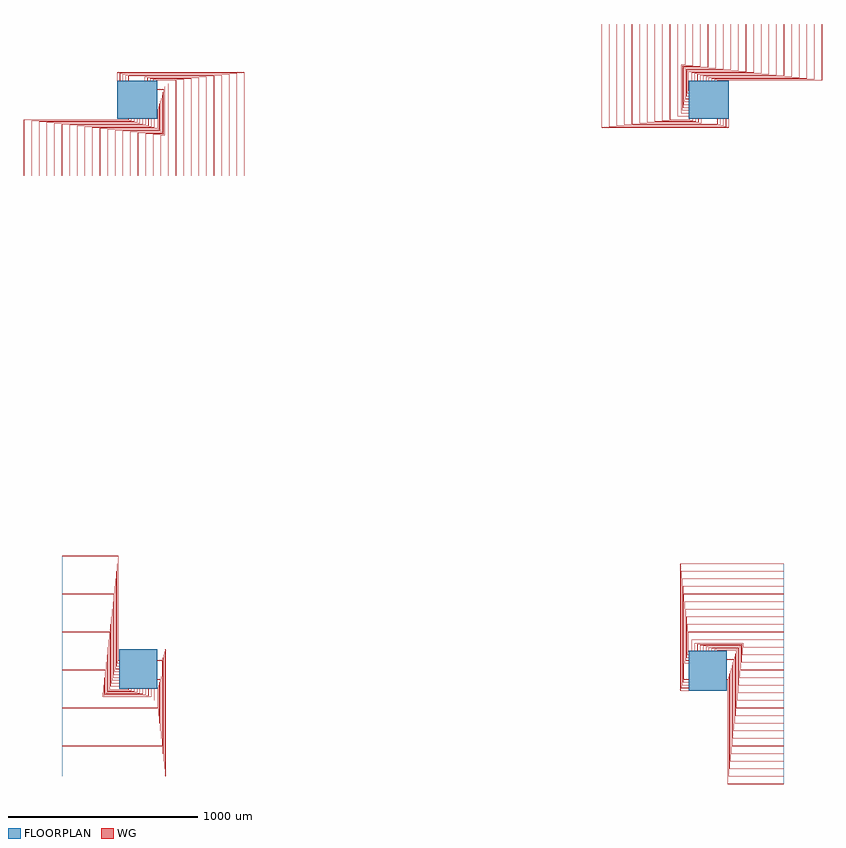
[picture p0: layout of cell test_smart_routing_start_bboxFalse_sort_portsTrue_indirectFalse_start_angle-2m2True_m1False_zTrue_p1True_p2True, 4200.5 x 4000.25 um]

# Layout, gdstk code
import gdstk
lib = gdstk.Library(unit=1e-6, precision=1e-09)
def R(c, l, rs):  # rectangles x0, y0, x1, y1
    for r in rs: c.add(gdstk.rectangle(r[:2], r[2:], *l))
def P(c, l, *ps):  # polygons
    for p in ps: c.add(gdstk.Polygon(p, *l))
WG = (1, 0)
FLOORPLAN = (10, 0)

test_smart_routing_start = lib.new_cell('test_smart_routing_start_bboxFalse_sort_portsTrue_indirectFalse_start_angle-2m2True_m1False_zTrue_p1True_p2True')
P(test_smart_routing_start, WG, [(3049.75,3100),(3049.75,3104.5),(3599.75,3104.5),(3599.75,3400),(3599.95,3400),(3599.95,3104.3),(3049.95,3104.3),(3049.95,3100)],
  [(3050.05,3100),(3050.05,3104.2),(3600.05,3104.2),(3600.05,3400),(3600.25,3400),(3600.25,3104),(3050.25,3104),(3050.25,3100)],
  [(3034.75,3100),(3034.75,3109),(3559.75,3109),(3559.75,3400),(3559.95,3400),(3559.95,3108.8),(3034.95,3108.8),(3034.95,3100)],
  [(3035.05,3100),(3035.05,3108.7),(3560.05,3108.7),(3560.05,3400),(3560.25,3400),(3560.25,3108.5),(3035.25,3108.5),(3035.25,3100)],
  [(3019.75,3100),(3019.75,3113.5),(3519.75,3113.5),(3519.75,3400),(3519.95,3400),(3519.95,3113.3),(3019.95,3113.3),(3019.95,3100)],
  [(3020.05,3100),(3020.05,3113.2),(3520.05,3113.2),(3520.05,3400),(3520.25,3400),(3520.25,3113),(3020.25,3113),(3020.25,3100)],
  [(3004.75,3100),(3004.75,3118),(3479.75,3118),(3479.75,3400),(3479.95,3400),(3479.95,3117.8),(3004.95,3117.8),(3004.95,3100)],
  [(3005.05,3100),(3005.05,3117.7),(3480.05,3117.7),(3480.05,3400),(3480.25,3400),(3480.25,3117.5),(3005.25,3117.5),(3005.25,3100)],
  [(2989.75,3100),(2989.75,3122.5),(3439.75,3122.5),(3439.75,3400),(3439.95,3400),(3439.95,3122.3),(2989.95,3122.3),(2989.95,3100)],
  [(2990.05,3100),(2990.05,3122.2),(3440.05,3122.2),(3440.05,3400),(3440.25,3400),(3440.25,3122),(2990.25,3122),(2990.25,3100)],
  [(2974.75,3100),(2974.75,3127),(3399.75,3127),(3399.75,3400),(3399.95,3400),(3399.95,3126.8),(2974.95,3126.8),(2974.95,3100)],
  [(2975.05,3100),(2975.05,3126.7),(3400.05,3126.7),(3400.05,3400),(3400.25,3400),(3400.25,3126.5),(2975.25,3126.5),(2975.25,3100)],
  [(2959.75,3100),(2959.75,3131.5),(3359.75,3131.5),(3359.75,3400),(3359.95,3400),(3359.95,3131.3),(2959.95,3131.3),(2959.95,3100)],
  [(2960.05,3100),(2960.05,3131.2),(3360.05,3131.2),(3360.05,3400),(3360.25,3400),(3360.25,3131),(2960.25,3131),(2960.25,3100)],
  [(2944.75,3100),(2944.75,3136),(3319.75,3136),(3319.75,3400),(3319.95,3400),(3319.95,3135.8),(2944.95,3135.8),(2944.95,3100)],
  [(2945.05,3100),(2945.05,3135.7),(3320.05,3135.7),(3320.05,3400),(3320.25,3400),(3320.25,3135.5),(2945.25,3135.5),(2945.25,3100)],
  [(2929.75,3100),(2929.75,3140.5),(3279.75,3140.5),(3279.75,3400),(3279.95,3400),(3279.95,3140.3),(2929.95,3140.3),(2929.95,3100)],
  [(2930.05,3100),(2930.05,3140.2),(3280.05,3140.2),(3280.05,3400),(3280.25,3400),(3280.25,3140),(2930.25,3140),(2930.25,3100)],
  [(2914.75,3100),(2914.75,3145),(3239.75,3145),(3239.75,3400),(3239.95,3400),(3239.95,3144.8),(2914.95,3144.8),(2914.95,3100)],
  [(2915.05,3100),(2915.05,3144.7),(3240.05,3144.7),(3240.05,3400),(3240.25,3400),(3240.25,3144.5),(2915.25,3144.5),(2915.25,3100)],
  [(2895.5,3049.75),(2895.5,3149.5),(3199.75,3149.5),(3199.75,3400),(3199.95,3400),(3199.95,3149.3),(2895.7,3149.3),(2895.7,3049.95),(2900,3049.95),(2900,3049.75)],
  [(2895.8,3050.05),(2895.8,3149.2),(3200.05,3149.2),(3200.05,3400),(3200.25,3400),(3200.25,3149),(2896,3149),(2896,3050.25),(2900,3050.25),(2900,3050.05)],
  [(2891,3034.75),(2891,3154),(3159.75,3154),(3159.75,3400),(3159.95,3400),(3159.95,3153.8),(2891.2,3153.8),(2891.2,3034.95),(2900,3034.95),(2900,3034.75)],
  [(2891.3,3035.05),(2891.3,3153.7),(3160.05,3153.7),(3160.05,3400),(3160.25,3400),(3160.25,3153.5),(2891.5,3153.5),(2891.5,3035.25),(2900,3035.25),(2900,3035.05)],
  [(2886.5,3019.75),(2886.5,3158.5),(3119.75,3158.5),(3119.75,3400),(3119.95,3400),(3119.95,3158.3),(2886.7,3158.3),(2886.7,3019.95),(2900,3019.95),(2900,3019.75)],
  [(2886.8,3020.05),(2886.8,3158.2),(3120.05,3158.2),(3120.05,3400),(3120.25,3400),(3120.25,3158),(2887,3158),(2887,3020.25),(2900,3020.25),(2900,3020.05)],
  [(2882,3004.75),(2882,3163),(3079.75,3163),(3079.75,3400),(3079.95,3400),(3079.95,3162.8),(2882.2,3162.8),(2882.2,3004.95),(2900,3004.95),(2900,3004.75)],
  [(2882.3,3005.05),(2882.3,3162.7),(3080.05,3162.7),(3080.05,3400),(3080.25,3400),(3080.25,3162.5),(2882.5,3162.5),(2882.5,3005.25),(2900,3005.25),(2900,3005.05)],
  [(2877.5,2989.75),(2877.5,3167.5),(3039.75,3167.5),(3039.75,3400),(3039.95,3400),(3039.95,3167.3),(2877.7,3167.3),(2877.7,2989.95),(2900,2989.95),(2900,2989.75)],
  [(2877.8,2990.05),(2877.8,3167.2),(3040.05,3167.2),(3040.05,3400),(3040.25,3400),(3040.25,3167),(2878,3167),(2878,2990.25),(2900,2990.25),(2900,2990.05)],
  [(2873,2974.75),(2873,3172),(2999.75,3172),(2999.75,3400),(2999.95,3400),(2999.95,3171.8),(2873.2,3171.8),(2873.2,2974.95),(2900,2974.95),(2900,2974.75)],
  [(2873.3,2975.05),(2873.3,3171.7),(3000.05,3171.7),(3000.05,3400),(3000.25,3400),(3000.25,3171.5),(2873.5,3171.5),(2873.5,2975.25),(2900,2975.25),(2900,2975.05)],
  [(2868.5,2959.75),(2868.5,3176.5),(2959.75,3176.5),(2959.75,3400),(2959.95,3400),(2959.95,3176.3),(2868.7,3176.3),(2868.7,2959.95),(2900,2959.95),(2900,2959.75)],
  [(2868.8,2960.05),(2868.8,3176.2),(2960.05,3176.2),(2960.05,3400),(2960.25,3400),(2960.25,3176),(2869,3176),(2869,2960.25),(2900,2960.25),(2900,2960.05)],
  [(2864,2944.75),(2864,3181),(2919.75,3181),(2919.75,3400),(2919.95,3400),(2919.95,3180.8),(2864.2,3180.8),(2864.2,2944.95),(2900,2944.95),(2900,2944.75)],
  [(2864.3,2945.05),(2864.3,3180.7),(2920.05,3180.7),(2920.05,3400),(2920.25,3400),(2920.25,3180.5),(2864.5,3180.5),(2864.5,2945.25),(2900,2945.25),(2900,2945.05)],
  [(2859.5,2929.75),(2859.5,3185.5),(2879.75,3185.5),(2879.75,3400),(2879.95,3400),(2879.95,3185.3),(2859.7,3185.3),(2859.7,2929.95),(2900,2929.95),(2900,2929.75)],
  [(2859.8,2930.05),(2859.8,3185.2),(2880.05,3185.2),(2880.05,3400),(2880.25,3400),(2880.25,3185),(2860,3185),(2860,2930.25),(2900,2930.25),(2900,2930.05)],
  [(2839.75,2914.75),(2839.75,3400),(2839.95,3400),(2839.95,2914.95),(2900,2914.95),(2900,2914.75)],
  [(2840.05,2915.05),(2840.05,3400),(2840.25,3400),(2840.25,2915.25),(2900,2915.25),(2900,2915.05)],
  [(2799.75,2895.5),(2799.75,3400),(2799.95,3400),(2799.95,2895.7),(2905.05,2895.7),(2905.05,2900),(2905.25,2900),(2905.25,2895.5)],
  [(2800.05,2895.8),(2800.05,3400),(2800.25,3400),(2800.25,2896),(2904.75,2896),(2904.75,2900),(2904.95,2900),(2904.95,2895.8)],
  [(2759.75,2891),(2759.75,3400),(2759.95,3400),(2759.95,2891.2),(2920.05,2891.2),(2920.05,2900),(2920.25,2900),(2920.25,2891)],
  [(2760.05,2891.3),(2760.05,3400),(2760.25,3400),(2760.25,2891.5),(2919.75,2891.5),(2919.75,2900),(2919.95,2900),(2919.95,2891.3)],
  [(2719.75,2886.5),(2719.75,3400),(2719.95,3400),(2719.95,2886.7),(2935.05,2886.7),(2935.05,2900),(2935.25,2900),(2935.25,2886.5)],
  [(2720.05,2886.8),(2720.05,3400),(2720.25,3400),(2720.25,2887),(2934.75,2887),(2934.75,2900),(2934.95,2900),(2934.95,2886.8)],
  [(2679.75,2882),(2679.75,3400),(2679.95,3400),(2679.95,2882.2),(2950.05,2882.2),(2950.05,2900),(2950.25,2900),(2950.25,2882)],
  [(2680.05,2882.3),(2680.05,3400),(2680.25,3400),(2680.25,2882.5),(2949.75,2882.5),(2949.75,2900),(2949.95,2900),(2949.95,2882.3)],
  [(2639.75,2877.5),(2639.75,3400),(2639.95,3400),(2639.95,2877.7),(2965.05,2877.7),(2965.05,2900),(2965.25,2900),(2965.25,2877.5)],
  [(2640.05,2877.8),(2640.05,3400),(2640.25,3400),(2640.25,2878),(2964.75,2878),(2964.75,2900),(2964.95,2900),(2964.95,2877.8)],
  [(2599.75,2873),(2599.75,3400),(2599.95,3400),(2599.95,2873.2),(3050.05,2873.2),(3050.05,2900),(3050.25,2900),(3050.25,2873)],
  [(2600.05,2873.3),(2600.05,3400),(2600.25,3400),(2600.25,2873.5),(3049.75,2873.5),(3049.75,2900),(3049.95,2900),(3049.95,2873.3)],
  [(2559.75,2868.5),(2559.75,3400),(2559.95,3400),(2559.95,2868.7),(3065.05,2868.7),(3065.05,2900),(3065.25,2900),(3065.25,2868.5)],
  [(2560.05,2868.8),(2560.05,3400),(2560.25,3400),(2560.25,2869),(3064.75,2869),(3064.75,2900),(3064.95,2900),(3064.95,2868.8)],
  [(2519.75,2864),(2519.75,3400),(2519.95,3400),(2519.95,2864.2),(3080.05,2864.2),(3080.05,2900),(3080.25,2900),(3080.25,2864)],
  [(2520.05,2864.3),(2520.05,3400),(2520.25,3400),(2520.25,2864.5),(3079.75,2864.5),(3079.75,2900),(3079.95,2900),(3079.95,2864.3)],
  [(2479.75,2859.5),(2479.75,3400),(2479.95,3400),(2479.95,2859.7),(3095.05,2859.7),(3095.05,2900),(3095.25,2900),(3095.25,2859.5)],
  [(2480.05,2859.8),(2480.05,3400),(2480.25,3400),(2480.25,2860),(3094.75,2860),(3094.75,2900),(3094.95,2900),(3094.95,2859.8)],
  [(2439.75,2855),(2439.75,3400),(2439.95,3400),(2439.95,2855.2),(3110.05,2855.2),(3110.05,2900),(3110.25,2900),(3110.25,2855)],
  [(2440.05,2855.3),(2440.05,3400),(2440.25,3400),(2440.25,2855.5),(3109.75,2855.5),(3109.75,2900),(3109.95,2900),(3109.95,2855.3)],
  [(-600.25,2600),(-600.25,2896),(-50.25,2896),(-50.25,2900),(-50.05,2900),(-50.05,2895.8),(-600.05,2895.8),(-600.05,2600)],
  [(-599.95,2600),(-599.95,2895.7),(-49.95,2895.7),(-49.95,2900),(-49.75,2900),(-49.75,2895.5),(-599.75,2895.5),(-599.75,2600)],
  [(-560.25,2600),(-560.25,2891.5),(-35.25,2891.5),(-35.25,2900),(-35.05,2900),(-35.05,2891.3),(-560.05,2891.3),(-560.05,2600)],
  [(-559.95,2600),(-559.95,2891.2),(-34.95,2891.2),(-34.95,2900),(-34.75,2900),(-34.75,2891),(-559.75,2891),(-559.75,2600)],
  [(-520.25,2600),(-520.25,2887),(-20.25,2887),(-20.25,2900),(-20.05,2900),(-20.05,2886.8),(-520.05,2886.8),(-520.05,2600)],
  [(-519.95,2600),(-519.95,2886.7),(-19.95,2886.7),(-19.95,2900),(-19.75,2900),(-19.75,2886.5),(-519.75,2886.5),(-519.75,2600)],
  [(-480.25,2600),(-480.25,2882.5),(-5.25,2882.5),(-5.25,2900),(-5.05,2900),(-5.05,2882.3),(-480.05,2882.3),(-480.05,2600)],
  [(-479.95,2600),(-479.95,2882.2),(-4.95,2882.2),(-4.95,2900),(-4.75,2900),(-4.75,2882),(-479.75,2882),(-479.75,2600)],
  [(-440.25,2600),(-440.25,2878),(9.75,2878),(9.75,2900),(9.95,2900),(9.95,2877.8),(-440.05,2877.8),(-440.05,2600)],
  [(-439.95,2600),(-439.95,2877.7),(10.05,2877.7),(10.05,2900),(10.25,2900),(10.25,2877.5),(-439.75,2877.5),(-439.75,2600)],
  [(-400.25,2600),(-400.25,2873.5),(24.75,2873.5),(24.75,2900),(24.95,2900),(24.95,2873.3),(-400.05,2873.3),(-400.05,2600)],
  [(-399.95,2600),(-399.95,2873.2),(25.05,2873.2),(25.05,2900),(25.25,2900),(25.25,2873),(-399.75,2873),(-399.75,2600)],
  [(-360.25,2600),(-360.25,2869),(39.75,2869),(39.75,2900),(39.95,2900),(39.95,2868.8),(-360.05,2868.8),(-360.05,2600)],
  [(-359.95,2600),(-359.95,2868.7),(40.05,2868.7),(40.05,2900),(40.25,2900),(40.25,2868.5),(-359.75,2868.5),(-359.75,2600)],
  [(-320.25,2600),(-320.25,2864.5),(54.75,2864.5),(54.75,2900),(54.95,2900),(54.95,2864.3),(-320.05,2864.3),(-320.05,2600)],
  [(-319.95,2600),(-319.95,2864.2),(55.05,2864.2),(55.05,2900),(55.25,2900),(55.25,2864),(-319.75,2864),(-319.75,2600)],
  [(-280.25,2600),(-280.25,2860),(69.75,2860),(69.75,2900),(69.95,2900),(69.95,2859.8),(-280.05,2859.8),(-280.05,2600)],
  [(-279.95,2600),(-279.95,2859.7),(70.05,2859.7),(70.05,2900),(70.25,2900),(70.25,2859.5),(-279.75,2859.5),(-279.75,2600)],
  [(-240.25,2600),(-240.25,2855.5),(84.75,2855.5),(84.75,2900),(84.95,2900),(84.95,2855.3),(-240.05,2855.3),(-240.05,2600)],
  [(-239.95,2600),(-239.95,2855.2),(85.05,2855.2),(85.05,2900),(85.25,2900),(85.25,2855),(-239.75,2855),(-239.75,2600)],
  [(-200.25,2600),(-200.25,2851),(104,2851),(104,2949.75),(100,2949.75),(100,2949.95),(104.2,2949.95),(104.2,2850.8),(-200.05,2850.8),(-200.05,2600)],
  [(-199.95,2600),(-199.95,2850.7),(104.3,2850.7),(104.3,2950.05),(100,2950.05),(100,2950.25),(104.5,2950.25),(104.5,2850.5),(-199.75,2850.5),(-199.75,2600)],
  [(-160.25,2600),(-160.25,2846.5),(108.5,2846.5),(108.5,2964.75),(100,2964.75),(100,2964.95),(108.7,2964.95),(108.7,2846.3),(-160.05,2846.3),(-160.05,2600)],
  [(-159.95,2600),(-159.95,2846.2),(108.8,2846.2),(108.8,2965.05),(100,2965.05),(100,2965.25),(109,2965.25),(109,2846),(-159.75,2846),(-159.75,2600)],
  [(-120.25,2600),(-120.25,2842),(113,2842),(113,2979.75),(100,2979.75),(100,2979.95),(113.2,2979.95),(113.2,2841.8),(-120.05,2841.8),(-120.05,2600)],
  [(-119.95,2600),(-119.95,2841.7),(113.3,2841.7),(113.3,2980.05),(100,2980.05),(100,2980.25),(113.5,2980.25),(113.5,2841.5),(-119.75,2841.5),(-119.75,2600)],
  [(-80.25,2600),(-80.25,2837.5),(117.5,2837.5),(117.5,2994.75),(100,2994.75),(100,2994.95),(117.7,2994.95),(117.7,2837.3),(-80.05,2837.3),(-80.05,2600)],
  [(-79.95,2600),(-79.95,2837.2),(117.8,2837.2),(117.8,2995.05),(100,2995.05),(100,2995.25),(118,2995.25),(118,2837),(-79.75,2837),(-79.75,2600)],
  [(-40.25,2600),(-40.25,2833),(122,2833),(122,3009.75),(100,3009.75),(100,3009.95),(122.2,3009.95),(122.2,2832.8),(-40.05,2832.8),(-40.05,2600)],
  [(-39.95,2600),(-39.95,2832.7),(122.3,2832.7),(122.3,3010.05),(100,3010.05),(100,3010.25),(122.5,3010.25),(122.5,2832.5),(-39.75,2832.5),(-39.75,2600)],
  [(-0.25,2600),(-0.25,2828.5),(126.5,2828.5),(126.5,3024.75),(100,3024.75),(100,3024.95),(126.7,3024.95),(126.7,2828.3),(-0.05,2828.3),(-0.05,2600)],
  [(0.05,2600),(0.05,2828.2),(126.8,2828.2),(126.8,3025.05),(100,3025.05),(100,3025.25),(127,3025.25),(127,2828),(0.25,2828),(0.25,2600)],
  [(39.75,2600),(39.75,2824),(131,2824),(131,3039.75),(100,3039.75),(100,3039.95),(131.2,3039.95),(131.2,2823.8),(39.95,2823.8),(39.95,2600)],
  [(40.05,2600),(40.05,2823.7),(131.3,2823.7),(131.3,3040.05),(100,3040.05),(100,3040.25),(131.5,3040.25),(131.5,2823.5),(40.25,2823.5),(40.25,2600)],
  [(79.75,2600),(79.75,2819.5),(135.5,2819.5),(135.5,3054.75),(100,3054.75),(100,3054.95),(135.7,3054.95),(135.7,2819.3),(79.95,2819.3),(79.95,2600)],
  [(80.05,2600),(80.05,2819.2),(135.8,2819.2),(135.8,3055.05),(100,3055.05),(100,3055.25),(136,3055.25),(136,2819),(80.25,2819),(80.25,2600)],
  [(119.75,2600),(119.75,2815),(140,2815),(140,3069.75),(100,3069.75),(100,3069.95),(140.2,3069.95),(140.2,2814.8),(119.95,2814.8),(119.95,2600)],
  [(120.05,2600),(120.05,2814.7),(140.3,2814.7),(140.3,3070.05),(100,3070.05),(100,3070.25),(140.5,3070.25),(140.5,2814.5),(120.25,2814.5),(120.25,2600)],
  [(159.75,2600),(159.75,3084.75),(100,3084.75),(100,3084.95),(159.95,3084.95),(159.95,2600)],
  [(160.05,2600),(160.05,3085.05),(100,3085.05),(100,3085.25),(160.25,3085.25),(160.25,2600)],
  [(199.75,2600),(199.75,3104),(95.25,3104),(95.25,3100),(95.05,3100),(95.05,3104.2),(199.95,3104.2),(199.95,2600)],
  [(200.05,2600),(200.05,3104.3),(94.95,3104.3),(94.95,3100),(94.75,3100),(94.75,3104.5),(200.25,3104.5),(200.25,2600)],
  [(239.75,2600),(239.75,3108.5),(80.25,3108.5),(80.25,3100),(80.05,3100),(80.05,3108.7),(239.95,3108.7),(239.95,2600)],
  [(240.05,2600),(240.05,3108.8),(79.95,3108.8),(79.95,3100),(79.75,3100),(79.75,3109),(240.25,3109),(240.25,2600)],
  [(279.75,2600),(279.75,3113),(65.25,3113),(65.25,3100),(65.05,3100),(65.05,3113.2),(279.95,3113.2),(279.95,2600)],
  [(280.05,2600),(280.05,3113.3),(64.95,3113.3),(64.95,3100),(64.75,3100),(64.75,3113.5),(280.25,3113.5),(280.25,2600)],
  [(319.75,2600),(319.75,3117.5),(50.25,3117.5),(50.25,3100),(50.05,3100),(50.05,3117.7),(319.95,3117.7),(319.95,2600)],
  [(320.05,2600),(320.05,3117.8),(49.95,3117.8),(49.95,3100),(49.75,3100),(49.75,3118),(320.25,3118),(320.25,2600)],
  [(359.75,2600),(359.75,3122),(35.25,3122),(35.25,3100),(35.05,3100),(35.05,3122.2),(359.95,3122.2),(359.95,2600)],
  [(360.05,2600),(360.05,3122.3),(34.95,3122.3),(34.95,3100),(34.75,3100),(34.75,3122.5),(360.25,3122.5),(360.25,2600)],
  [(399.75,2600),(399.75,3126.5),(-49.75,3126.5),(-49.75,3100),(-49.95,3100),(-49.95,3126.7),(399.95,3126.7),(399.95,2600)],
  [(400.05,2600),(400.05,3126.8),(-50.05,3126.8),(-50.05,3100),(-50.25,3100),(-50.25,3127),(400.25,3127),(400.25,2600)],
  [(439.75,2600),(439.75,3131),(-64.75,3131),(-64.75,3100),(-64.95,3100),(-64.95,3131.2),(439.95,3131.2),(439.95,2600)],
  [(440.05,2600),(440.05,3131.3),(-65.05,3131.3),(-65.05,3100),(-65.25,3100),(-65.25,3131.5),(440.25,3131.5),(440.25,2600)],
  [(479.75,2600),(479.75,3135.5),(-79.75,3135.5),(-79.75,3100),(-79.95,3100),(-79.95,3135.7),(479.95,3135.7),(479.95,2600)],
  [(480.05,2600),(480.05,3135.8),(-80.05,3135.8),(-80.05,3100),(-80.25,3100),(-80.25,3136),(480.25,3136),(480.25,2600)],
  [(519.75,2600),(519.75,3140),(-94.75,3140),(-94.75,3100),(-94.95,3100),(-94.95,3140.2),(519.95,3140.2),(519.95,2600)],
  [(520.05,2600),(520.05,3140.3),(-95.05,3140.3),(-95.05,3100),(-95.25,3100),(-95.25,3140.5),(520.25,3140.5),(520.25,2600)],
  [(559.75,2600),(559.75,3144.5),(-109.75,3144.5),(-109.75,3100),(-109.95,3100),(-109.95,3144.7),(559.95,3144.7),(559.95,2600)],
  [(560.05,2600),(560.05,3144.8),(-110.05,3144.8),(-110.05,3100),(-110.25,3100),(-110.25,3145),(560.25,3145),(560.25,2600)],
  [(-104.5,49.75),(-104.5,599.75),(-400,599.75),(-400,599.95),(-104.3,599.95),(-104.3,49.95),(-100,49.95),(-100,49.75)],
  [(-104.2,50.05),(-104.2,600.05),(-400,600.05),(-400,600.25),(-104,600.25),(-104,50.25),(-100,50.25),(-100,50.05)],
  [(-109,34.75),(-109,559.75),(-400,559.75),(-400,559.95),(-108.8,559.95),(-108.8,34.95),(-100,34.95),(-100,34.75)],
  [(-108.7,35.05),(-108.7,560.05),(-400,560.05),(-400,560.25),(-108.5,560.25),(-108.5,35.25),(-100,35.25),(-100,35.05)],
  [(-113.5,19.75),(-113.5,519.75),(-400,519.75),(-400,519.95),(-113.3,519.95),(-113.3,19.95),(-100,19.95),(-100,19.75)],
  [(-113.2,20.05),(-113.2,520.05),(-400,520.05),(-400,520.25),(-113,520.25),(-113,20.25),(-100,20.25),(-100,20.05)],
  [(-118,4.75),(-118,479.75),(-400,479.75),(-400,479.95),(-117.8,479.95),(-117.8,4.95),(-100,4.95),(-100,4.75)],
  [(-117.7,5.05),(-117.7,480.05),(-400,480.05),(-400,480.25),(-117.5,480.25),(-117.5,5.25),(-100,5.25),(-100,5.05)],
  [(-122.5,-10.25),(-122.5,439.75),(-400,439.75),(-400,439.95),(-122.3,439.95),(-122.3,-10.05),(-100,-10.05),(-100,-10.25)],
  [(-122.2,-9.95),(-122.2,440.05),(-400,440.05),(-400,440.25),(-122,440.25),(-122,-9.75),(-100,-9.75),(-100,-9.95)],
  [(-127,-25.25),(-127,399.75),(-400,399.75),(-400,399.95),(-126.8,399.95),(-126.8,-25.05),(-100,-25.05),(-100,-25.25)],
  [(-126.7,-24.95),(-126.7,400.05),(-400,400.05),(-400,400.25),(-126.5,400.25),(-126.5,-24.75),(-100,-24.75),(-100,-24.95)],
  [(-131.5,-40.25),(-131.5,359.75),(-400,359.75),(-400,359.95),(-131.3,359.95),(-131.3,-40.05),(-100,-40.05),(-100,-40.25)],
  [(-131.2,-39.95),(-131.2,360.05),(-400,360.05),(-400,360.25),(-131,360.25),(-131,-39.75),(-100,-39.75),(-100,-39.95)],
  [(-136,-55.25),(-136,319.75),(-400,319.75),(-400,319.95),(-135.8,319.95),(-135.8,-55.05),(-100,-55.05),(-100,-55.25)],
  [(-135.7,-54.95),(-135.7,320.05),(-400,320.05),(-400,320.25),(-135.5,320.25),(-135.5,-54.75),(-100,-54.75),(-100,-54.95)],
  [(-140.5,-70.25),(-140.5,279.75),(-400,279.75),(-400,279.95),(-140.3,279.95),(-140.3,-70.05),(-100,-70.05),(-100,-70.25)],
  [(-140.2,-69.95),(-140.2,280.05),(-400,280.05),(-400,280.25),(-140,280.25),(-140,-69.75),(-100,-69.75),(-100,-69.95)],
  [(-145,-85.25),(-145,239.75),(-400,239.75),(-400,239.95),(-144.8,239.95),(-144.8,-85.05),(-100,-85.05),(-100,-85.25)],
  [(-144.7,-84.95),(-144.7,240.05),(-400,240.05),(-400,240.25),(-144.5,240.25),(-144.5,-84.75),(-100,-84.75),(-100,-84.95)],
  [(-149.5,-104.5),(-149.5,199.75),(-400,199.75),(-400,199.95),(-149.3,199.95),(-149.3,-104.3),(-49.95,-104.3),(-49.95,-100),(-49.75,-100),(-49.75,-104.5)],
  [(-149.2,-104.2),(-149.2,200.05),(-400,200.05),(-400,200.25),(-149,200.25),(-149,-104),(-50.25,-104),(-50.25,-100),(-50.05,-100),(-50.05,-104.2)],
  [(-154,-109),(-154,159.75),(-400,159.75),(-400,159.95),(-153.8,159.95),(-153.8,-108.8),(-34.95,-108.8),(-34.95,-100),(-34.75,-100),(-34.75,-109)],
  [(-153.7,-108.7),(-153.7,160.05),(-400,160.05),(-400,160.25),(-153.5,160.25),(-153.5,-108.5),(-35.25,-108.5),(-35.25,-100),(-35.05,-100),(-35.05,-108.7)],
  [(-158.5,-113.5),(-158.5,119.75),(-400,119.75),(-400,119.95),(-158.3,119.95),(-158.3,-113.3),(-19.95,-113.3),(-19.95,-100),(-19.75,-100),(-19.75,-113.5)],
  [(-158.2,-113.2),(-158.2,120.05),(-400,120.05),(-400,120.25),(-158,120.25),(-158,-113),(-20.25,-113),(-20.25,-100),(-20.05,-100),(-20.05,-113.2)],
  [(-163,-118),(-163,79.75),(-400,79.75),(-400,79.95),(-162.8,79.95),(-162.8,-117.8),(-4.95,-117.8),(-4.95,-100),(-4.75,-100),(-4.75,-118)],
  [(-162.7,-117.7),(-162.7,80.05),(-400,80.05),(-400,80.25),(-162.5,80.25),(-162.5,-117.5),(-5.25,-117.5),(-5.25,-100),(-5.05,-100),(-5.05,-117.7)],
  [(-167.5,-122.5),(-167.5,39.75),(-400,39.75),(-400,39.95),(-167.3,39.95),(-167.3,-122.3),(10.05,-122.3),(10.05,-100),(10.25,-100),(10.25,-122.5)],
  [(-167.2,-122.2),(-167.2,40.05),(-400,40.05),(-400,40.25),(-167,40.25),(-167,-122),(9.75,-122),(9.75,-100),(9.95,-100),(9.95,-122.2)],
  [(-172,-127),(-172,-0.25),(-400,-0.25),(-400,-0.05),(-171.8,-0.05),(-171.8,-126.8),(25.05,-126.8),(25.05,-100),(25.25,-100),(25.25,-127)],
  [(-171.7,-126.7),(-171.7,0.05),(-400,0.05),(-400,0.25),(-171.5,0.25),(-171.5,-126.5),(24.75,-126.5),(24.75,-100),(24.95,-100),(24.95,-126.7)],
  [(-176.5,-131.5),(-176.5,-40.25),(-400,-40.25),(-400,-40.05),(-176.3,-40.05),(-176.3,-131.3),(40.05,-131.3),(40.05,-100),(40.25,-100),(40.25,-131.5)],
  [(-176.2,-131.2),(-176.2,-39.95),(-400,-39.95),(-400,-39.75),(-176,-39.75),(-176,-131),(39.75,-131),(39.75,-100),(39.95,-100),(39.95,-131.2)],
  [(-181,-136),(-181,-80.25),(-400,-80.25),(-400,-80.05),(-180.8,-80.05),(-180.8,-135.8),(55.05,-135.8),(55.05,-100),(55.25,-100),(55.25,-136)],
  [(-180.7,-135.7),(-180.7,-79.95),(-400,-79.95),(-400,-79.75),(-180.5,-79.75),(-180.5,-135.5),(54.75,-135.5),(54.75,-100),(54.95,-100),(54.95,-135.7)],
  [(-185.2,-140.2),(-185.2,-119.95),(-400,-119.95),(-400,-119.75),(-185,-119.75),(-185,-140),(69.75,-140),(69.75,-100),(69.95,-100),(69.95,-140.2)],
  [(-185.5,-140.5),(-185.5,-120.25),(-400,-120.25),(-400,-120.05),(-185.3,-120.05),(-185.3,-140.3),(70.05,-140.3),(70.05,-100),(70.25,-100),(70.25,-140.5)],
  [(-400,-159.95),(-400,-159.75),(84.75,-159.75),(84.75,-100),(84.95,-100),(84.95,-159.95)],
  [(-400,-160.25),(-400,-160.05),(85.05,-160.05),(85.05,-100),(85.25,-100),(85.25,-160.25)],
  [(-400,-199.95),(-400,-199.75),(104,-199.75),(104,-95.25),(100,-95.25),(100,-95.05),(104.2,-95.05),(104.2,-199.95)],
  [(-400,-200.25),(-400,-200.05),(104.3,-200.05),(104.3,-94.95),(100,-94.95),(100,-94.75),(104.5,-94.75),(104.5,-200.25)],
  [(-400,-239.95),(-400,-239.75),(108.5,-239.75),(108.5,-80.25),(100,-80.25),(100,-80.05),(108.7,-80.05),(108.7,-239.95)],
  [(-400,-240.25),(-400,-240.05),(108.8,-240.05),(108.8,-79.95),(100,-79.95),(100,-79.75),(109,-79.75),(109,-240.25)],
  [(-400,-279.95),(-400,-279.75),(113,-279.75),(113,-65.25),(100,-65.25),(100,-65.05),(113.2,-65.05),(113.2,-279.95)],
  [(-400,-280.25),(-400,-280.05),(113.3,-280.05),(113.3,-64.95),(100,-64.95),(100,-64.75),(113.5,-64.75),(113.5,-280.25)],
  [(-400,-319.95),(-400,-319.75),(117.5,-319.75),(117.5,-50.25),(100,-50.25),(100,-50.05),(117.7,-50.05),(117.7,-319.95)],
  [(-400,-320.25),(-400,-320.05),(117.8,-320.05),(117.8,-49.95),(100,-49.95),(100,-49.75),(118,-49.75),(118,-320.25)],
  [(-400,-359.95),(-400,-359.75),(122,-359.75),(122,-35.25),(100,-35.25),(100,-35.05),(122.2,-35.05),(122.2,-359.95)],
  [(-400,-360.25),(-400,-360.05),(122.3,-360.05),(122.3,-34.95),(100,-34.95),(100,-34.75),(122.5,-34.75),(122.5,-360.25)],
  [(-400,-399.95),(-400,-399.75),(126.5,-399.75),(126.5,49.75),(100,49.75),(100,49.95),(126.7,49.95),(126.7,-399.95)],
  [(-400,-400.25),(-400,-400.05),(126.8,-400.05),(126.8,50.05),(100,50.05),(100,50.25),(127,50.25),(127,-400.25)],
  [(-400,-439.95),(-400,-439.75),(131,-439.75),(131,64.75),(100,64.75),(100,64.95),(131.2,64.95),(131.2,-439.95)],
  [(-400,-440.25),(-400,-440.05),(131.3,-440.05),(131.3,65.05),(100,65.05),(100,65.25),(131.5,65.25),(131.5,-440.25)],
  [(-400,-479.95),(-400,-479.75),(135.5,-479.75),(135.5,79.75),(100,79.75),(100,79.95),(135.7,79.95),(135.7,-479.95)],
  [(-400,-480.25),(-400,-480.05),(135.8,-480.05),(135.8,80.05),(100,80.05),(100,80.25),(136,80.25),(136,-480.25)],
  [(-400,-519.95),(-400,-519.75),(140,-519.75),(140,94.75),(100,94.75),(100,94.95),(140.2,94.95),(140.2,-519.95)],
  [(-400,-520.25),(-400,-520.05),(140.3,-520.05),(140.3,95.05),(100,95.05),(100,95.25),(140.5,95.25),(140.5,-520.25)],
  [(-400,-559.95),(-400,-559.75),(144.5,-559.75),(144.5,109.75),(100,109.75),(100,109.95),(144.7,109.95),(144.7,-559.95)],
  [(-400,-560.25),(-400,-560.05),(144.8,-560.05),(144.8,110.05),(100,110.05),(100,110.25),(145,110.25),(145,-560.25)],
  [(3104,-600.25),(3104,-50.25),(3100,-50.25),(3100,-50.05),(3104.2,-50.05),(3104.2,-600.05),(3400,-600.05),(3400,-600.25)],
  [(3104.3,-599.95),(3104.3,-49.95),(3100,-49.95),(3100,-49.75),(3104.5,-49.75),(3104.5,-599.75),(3400,-599.75),(3400,-599.95)],
  [(3108.5,-560.25),(3108.5,-35.25),(3100,-35.25),(3100,-35.05),(3108.7,-35.05),(3108.7,-560.05),(3400,-560.05),(3400,-560.25)],
  [(3108.8,-559.95),(3108.8,-34.95),(3100,-34.95),(3100,-34.75),(3109,-34.75),(3109,-559.75),(3400,-559.75),(3400,-559.95)],
  [(3113,-520.25),(3113,-20.25),(3100,-20.25),(3100,-20.05),(3113.2,-20.05),(3113.2,-520.05),(3400,-520.05),(3400,-520.25)],
  [(3113.3,-519.95),(3113.3,-19.95),(3100,-19.95),(3100,-19.75),(3113.5,-19.75),(3113.5,-519.75),(3400,-519.75),(3400,-519.95)],
  [(3117.5,-480.25),(3117.5,-5.25),(3100,-5.25),(3100,-5.05),(3117.7,-5.05),(3117.7,-480.05),(3400,-480.05),(3400,-480.25)],
  [(3117.8,-479.95),(3117.8,-4.95),(3100,-4.95),(3100,-4.75),(3118,-4.75),(3118,-479.75),(3400,-479.75),(3400,-479.95)],
  [(3122,-440.25),(3122,9.75),(3100,9.75),(3100,9.95),(3122.2,9.95),(3122.2,-440.05),(3400,-440.05),(3400,-440.25)],
  [(3122.3,-439.95),(3122.3,10.05),(3100,10.05),(3100,10.25),(3122.5,10.25),(3122.5,-439.75),(3400,-439.75),(3400,-439.95)],
  [(3126.5,-400.25),(3126.5,24.75),(3100,24.75),(3100,24.95),(3126.7,24.95),(3126.7,-400.05),(3400,-400.05),(3400,-400.25)],
  [(3126.8,-399.95),(3126.8,25.05),(3100,25.05),(3100,25.25),(3127,25.25),(3127,-399.75),(3400,-399.75),(3400,-399.95)],
  [(3131,-360.25),(3131,39.75),(3100,39.75),(3100,39.95),(3131.2,39.95),(3131.2,-360.05),(3400,-360.05),(3400,-360.25)],
  [(3131.3,-359.95),(3131.3,40.05),(3100,40.05),(3100,40.25),(3131.5,40.25),(3131.5,-359.75),(3400,-359.75),(3400,-359.95)],
  [(3135.5,-320.25),(3135.5,54.75),(3100,54.75),(3100,54.95),(3135.7,54.95),(3135.7,-320.05),(3400,-320.05),(3400,-320.25)],
  [(3135.8,-319.95),(3135.8,55.05),(3100,55.05),(3100,55.25),(3136,55.25),(3136,-319.75),(3400,-319.75),(3400,-319.95)],
  [(3140,-280.25),(3140,69.75),(3100,69.75),(3100,69.95),(3140.2,69.95),(3140.2,-280.05),(3400,-280.05),(3400,-280.25)],
  [(3140.3,-279.95),(3140.3,70.05),(3100,70.05),(3100,70.25),(3140.5,70.25),(3140.5,-279.75),(3400,-279.75),(3400,-279.95)],
  [(3144.5,-240.25),(3144.5,84.75),(3100,84.75),(3100,84.95),(3144.7,84.95),(3144.7,-240.05),(3400,-240.05),(3400,-240.25)],
  [(3144.8,-239.95),(3144.8,85.05),(3100,85.05),(3100,85.25),(3145,85.25),(3145,-239.75),(3400,-239.75),(3400,-239.95)],
  [(3149,-200.25),(3149,104),(3050.25,104),(3050.25,100),(3050.05,100),(3050.05,104.2),(3149.2,104.2),(3149.2,-200.05),(3400,-200.05),(3400,-200.25)],
  [(3149.3,-199.95),(3149.3,104.3),(3049.95,104.3),(3049.95,100),(3049.75,100),(3049.75,104.5),(3149.5,104.5),(3149.5,-199.75),(3400,-199.75),(3400,-199.95)],
  [(3153.5,-160.25),(3153.5,108.5),(3035.25,108.5),(3035.25,100),(3035.05,100),(3035.05,108.7),(3153.7,108.7),(3153.7,-160.05),(3400,-160.05),(3400,-160.25)],
  [(3153.8,-159.95),(3153.8,108.8),(3034.95,108.8),(3034.95,100),(3034.75,100),(3034.75,109),(3154,109),(3154,-159.75),(3400,-159.75),(3400,-159.95)],
  [(3158,-120.25),(3158,113),(3020.25,113),(3020.25,100),(3020.05,100),(3020.05,113.2),(3158.2,113.2),(3158.2,-120.05),(3400,-120.05),(3400,-120.25)],
  [(3158.3,-119.95),(3158.3,113.3),(3019.95,113.3),(3019.95,100),(3019.75,100),(3019.75,113.5),(3158.5,113.5),(3158.5,-119.75),(3400,-119.75),(3400,-119.95)],
  [(3162.5,-80.25),(3162.5,117.5),(3005.25,117.5),(3005.25,100),(3005.05,100),(3005.05,117.7),(3162.7,117.7),(3162.7,-80.05),(3400,-80.05),(3400,-80.25)],
  [(3162.8,-79.95),(3162.8,117.8),(3004.95,117.8),(3004.95,100),(3004.75,100),(3004.75,118),(3163,118),(3163,-79.75),(3400,-79.75),(3400,-79.95)],
  [(3167,-40.25),(3167,122),(2990.25,122),(2990.25,100),(2990.05,100),(2990.05,122.2),(3167.2,122.2),(3167.2,-40.05),(3400,-40.05),(3400,-40.25)],
  [(3167.3,-39.95),(3167.3,122.3),(2989.95,122.3),(2989.95,100),(2989.75,100),(2989.75,122.5),(3167.5,122.5),(3167.5,-39.75),(3400,-39.75),(3400,-39.95)],
  [(3171.5,-0.25),(3171.5,126.5),(2975.25,126.5),(2975.25,100),(2975.05,100),(2975.05,126.7),(3171.7,126.7),(3171.7,-0.05),(3400,-0.05),(3400,-0.25)],
  [(3171.8,0.05),(3171.8,126.8),(2974.95,126.8),(2974.95,100),(2974.75,100),(2974.75,127),(3172,127),(3172,0.25),(3400,0.25),(3400,0.05)],
  [(3176,39.75),(3176,131),(2960.25,131),(2960.25,100),(2960.05,100),(2960.05,131.2),(3176.2,131.2),(3176.2,39.95),(3400,39.95),(3400,39.75)],
  [(3176.3,40.05),(3176.3,131.3),(2959.95,131.3),(2959.95,100),(2959.75,100),(2959.75,131.5),(3176.5,131.5),(3176.5,40.25),(3400,40.25),(3400,40.05)],
  [(3180.5,79.75),(3180.5,135.5),(2945.25,135.5),(2945.25,100),(2945.05,100),(2945.05,135.7),(3180.7,135.7),(3180.7,79.95),(3400,79.95),(3400,79.75)],
  [(3180.8,80.05),(3180.8,135.8),(2944.95,135.8),(2944.95,100),(2944.75,100),(2944.75,136),(3181,136),(3181,80.25),(3400,80.25),(3400,80.05)],
  [(2930.05,100),(2930.05,140.2),(3185.2,140.2),(3185.2,119.95),(3400,119.95),(3400,119.75),(3185,119.75),(3185,140),(2930.25,140),(2930.25,100)],
  [(2929.75,100),(2929.75,140.5),(3185.5,140.5),(3185.5,120.25),(3400,120.25),(3400,120.05),(3185.3,120.05),(3185.3,140.3),(2929.95,140.3),(2929.95,100)],
  [(2915.05,100),(2915.05,159.95),(3400,159.95),(3400,159.75),(2915.25,159.75),(2915.25,100)],
  [(2914.75,100),(2914.75,160.25),(3400,160.25),(3400,160.05),(2914.95,160.05),(2914.95,100)],
  [(2895.8,95.05),(2895.8,199.95),(3400,199.95),(3400,199.75),(2896,199.75),(2896,95.25),(2900,95.25),(2900,95.05)],
  [(2895.5,94.75),(2895.5,200.25),(3400,200.25),(3400,200.05),(2895.7,200.05),(2895.7,94.95),(2900,94.95),(2900,94.75)],
  [(2891.3,80.05),(2891.3,239.95),(3400,239.95),(3400,239.75),(2891.5,239.75),(2891.5,80.25),(2900,80.25),(2900,80.05)],
  [(2891,79.75),(2891,240.25),(3400,240.25),(3400,240.05),(2891.2,240.05),(2891.2,79.95),(2900,79.95),(2900,79.75)],
  [(2886.8,65.05),(2886.8,279.95),(3400,279.95),(3400,279.75),(2887,279.75),(2887,65.25),(2900,65.25),(2900,65.05)],
  [(2886.5,64.75),(2886.5,280.25),(3400,280.25),(3400,280.05),(2886.7,280.05),(2886.7,64.95),(2900,64.95),(2900,64.75)],
  [(2882.3,50.05),(2882.3,319.95),(3400,319.95),(3400,319.75),(2882.5,319.75),(2882.5,50.25),(2900,50.25),(2900,50.05)],
  [(2882,49.75),(2882,320.25),(3400,320.25),(3400,320.05),(2882.2,320.05),(2882.2,49.95),(2900,49.95),(2900,49.75)],
  [(2877.8,35.05),(2877.8,359.95),(3400,359.95),(3400,359.75),(2878,359.75),(2878,35.25),(2900,35.25),(2900,35.05)],
  [(2877.5,34.75),(2877.5,360.25),(3400,360.25),(3400,360.05),(2877.7,360.05),(2877.7,34.95),(2900,34.95),(2900,34.75)],
  [(2873.3,-49.95),(2873.3,399.95),(3400,399.95),(3400,399.75),(2873.5,399.75),(2873.5,-49.75),(2900,-49.75),(2900,-49.95)],
  [(2873,-50.25),(2873,400.25),(3400,400.25),(3400,400.05),(2873.2,400.05),(2873.2,-50.05),(2900,-50.05),(2900,-50.25)],
  [(2868.8,-64.95),(2868.8,439.95),(3400,439.95),(3400,439.75),(2869,439.75),(2869,-64.75),(2900,-64.75),(2900,-64.95)],
  [(2868.5,-65.25),(2868.5,440.25),(3400,440.25),(3400,440.05),(2868.7,440.05),(2868.7,-65.05),(2900,-65.05),(2900,-65.25)],
  [(2864.3,-79.95),(2864.3,479.95),(3400,479.95),(3400,479.75),(2864.5,479.75),(2864.5,-79.75),(2900,-79.75),(2900,-79.95)],
  [(2864,-80.25),(2864,480.25),(3400,480.25),(3400,480.05),(2864.2,480.05),(2864.2,-80.05),(2900,-80.05),(2900,-80.25)],
  [(2859.8,-94.95),(2859.8,519.95),(3400,519.95),(3400,519.75),(2860,519.75),(2860,-94.75),(2900,-94.75),(2900,-94.95)],
  [(2859.5,-95.25),(2859.5,520.25),(3400,520.25),(3400,520.05),(2859.7,520.05),(2859.7,-95.05),(2900,-95.05),(2900,-95.25)],
  [(2855.3,-109.95),(2855.3,559.95),(3400,559.95),(3400,559.75),(2855.5,559.75),(2855.5,-109.75),(2900,-109.75),(2900,-109.95)],
  [(2855,-110.25),(2855,560.25),(3400,560.25),(3400,560.05),(2855.2,560.05),(2855.2,-110.05),(2900,-110.05),(2900,-110.25)])
R(test_smart_routing_start, FLOORPLAN, [(2900,-110,3100,100), (-100,-100,100,110), (-110,2900,100,3100), (2900,2900,3110,3100)])
P(test_smart_routing_start, FLOORPLAN, [(-400,-560),(-400,600),(-400,600),(-400,-560)],
  [(-600,2600),(-600,2600),(560,2600),(560,2600)],
  [(3400,-600),(3400,560),(3400,560),(3400,-600)],
  [(2440,3400),(2440,3400),(3600,3400),(3600,3400)])

lib.write_gds('test_smart_routing_start_bboxFalse_sort_portsTrue_indirectFalse_start_angle-2m2True_m1False_zTrue_p1True_p2True.gds')
